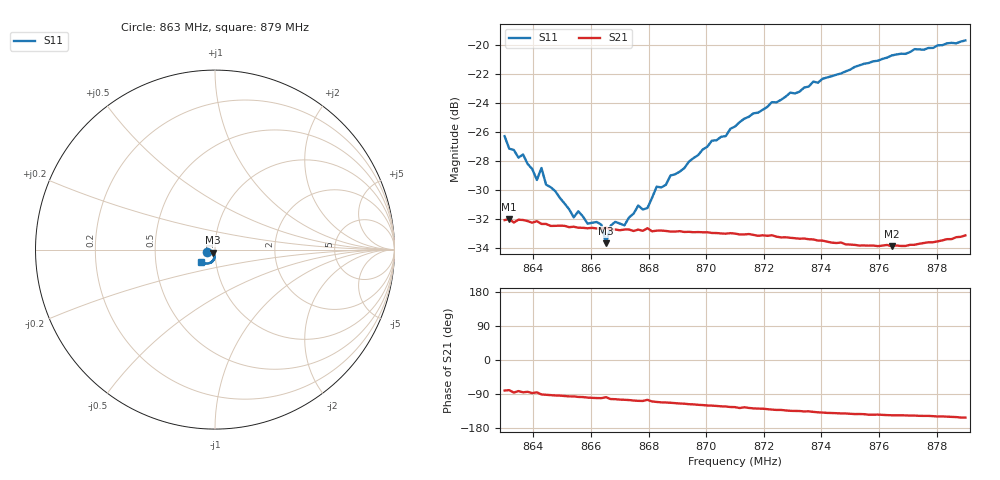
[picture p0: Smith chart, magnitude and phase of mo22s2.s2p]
# HZ S RI R 50
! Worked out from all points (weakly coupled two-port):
!   101 points, 863 MHz to 879 MHz, reference 50 ohm
!   highest |S21| = -32.02 dB at 863.16 MHz (marker M1); lowest = -33.9 dB at 876.44 MHz (marker M2)
!   lowest |S11| = -33.7 dB at 866.52 MHz (marker M3), VSWR 1.04, Z = 48.7 - j1.59 ohm
!   |S11| at or under -10 dB: start of sweep to end of sweep
!   S12 and S22 are empty: the file has one direction only
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8.63e8  -0.0464 -0.0139  0.00409 -0.0245  0 0  0 0
8.6316e8  -0.042 -0.0126  0.00453 -0.0246  0 0  0 0
8.6364e8  -0.0405 -0.0104  0.00207 -0.0248  0 0  0 0
8.6412e8  -0.0325 -0.0105  0.00204 -0.0245  0 0  0 0
8.6428e8  -0.0337 -0.0166  -0.000412 -0.0241  0 0  0 0
8.6444e8  -0.0309 -0.0113  -0.000769 -0.0241  0 0  0 0
8.654e8  -0.0221 -0.0125  -0.00248 -0.0234  0 0  0 0
8.6556e8  -0.0226 -0.0141  -0.00304 -0.0232  0 0  0 0
8.6572e8  -0.0201 -0.0158  -0.00316 -0.0231  0 0  0 0
8.6588e8  -0.0194 -0.0144  -0.00374 -0.023  0 0  0 0
8.6636e8  -0.0168 -0.017  -0.00429 -0.0227  0 0  0 0
8.6652e8  -0.0126 -0.0163  -0.00331 -0.0232  0 0  0 0
8.6668e8  -0.0134 -0.0196  -0.00518 -0.0224  0 0  0 0
8.6716e8  -0.0103 -0.0215  -0.00595 -0.0223  0 0  0 0
8.6764e8  -0.0089 -0.0264  -0.00702 -0.0219  0 0  0 0
8.6796e8  -0.00301 -0.0272  -0.00605 -0.0225  0 0  0 0
8.6828e8  -0.0059 -0.0319  -0.00805 -0.0214  0 0  0 0
8.6844e8  -0.00508 -0.0318  -0.00848 -0.0212  0 0  0 0
8.71e8  -0.00491 -0.0521  -0.0126 -0.0184  0 0  0 0
8.7372e8  -0.0205 -0.0719  -0.0155 -0.0145  0 0  0 0
8.7644e8  -0.0497 -0.0775  -0.0167 -0.0113  0 0  0 0
8.79e8  -0.0778 -0.0687  -0.0194 -0.0103  0 0  0 0
